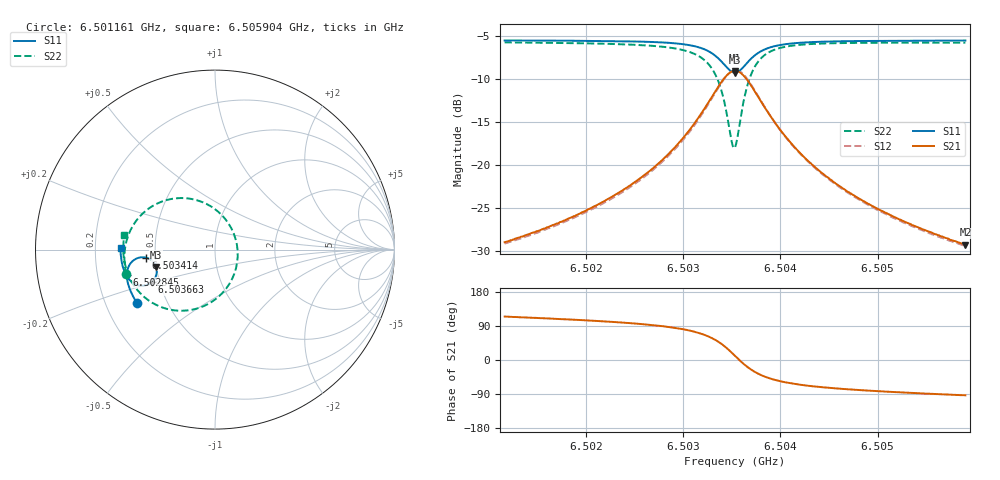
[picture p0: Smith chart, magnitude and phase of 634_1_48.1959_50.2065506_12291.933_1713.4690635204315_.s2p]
#  HZ  S  RI  R  50.00
! Rohde & Schwarz Vector Network Analyzer
! Rohde-Schwarz,ZNB20-2Port,1311601062101988,3.16
! Created: UTC 3/20/2024, 12:04:32 PM
! freq[Hz]  re:S11  im:S11  re:S21  im:S21  re:S12  im:S12  re:S22  im:S22
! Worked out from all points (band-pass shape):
!   401 points, 6.501161 GHz to 6.505904 GHz, reference 50 ohm
!   highest |S21| = -9.09 dB at 6.503532 GHz (marker M1); lowest = -29.3 dB at 6.505904 GHz (marker M2)
!   |S21| within 3 dB of the highest: 6.503295 GHz to 6.50377 GHz (474.8 kHz wide, 0.0073 % of centre)
!   lowest |S11| = -9.3 dB at 6.503532 GHz (marker M3), VSWR 2.04, Z = 24.9 - j5.59 ohm
!   |S11| at or under -10 dB: nowhere
!   |S22| runs from -18.1 to -5.8 dB; largest |S21 - S12| = 0.013
!   S11 on the Smith chart (normalised r, x): 6.501161 GHz: 0.34, -0.27; 6.502845 GHz: 0.33, -0.12; 6.503414 GHz: 0.44, -0.05; 6.503663 GHz: 0.46, -0.19; 6.505904 GHz: 0.31, +0.01
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6.5011608e9  -0.4363 -0.2952  -0.0148 0.0323  -0.0129 0.0324  -0.4949 -0.1367
6.5019553e9  -0.469 -0.2347  -0.0139 0.0511  -0.0113 0.0505  -0.5048 -0.0487
6.5023822e9  -0.4833 -0.1955  -0.0106 0.0707  -0.00751 0.0696  -0.5 0.0151
6.5027498e9  -0.4909 -0.1528  -0.000465 0.1024  0.00323 0.1  -0.4776 0.0933
6.5028447e9  -0.4911 -0.1395  0.00532 0.1149  0.00915 0.1119  -0.4647 0.1201
6.5030463e9  -0.4853 -0.105  0.0302 0.1514  0.034 0.1467  -0.4132 0.1907
6.5031886e9  -0.4689 -0.0745  0.0716 0.1864  0.0745 0.1803  -0.3333 0.2508
6.503319e9  -0.4316 -0.0474  0.1513 0.2126  0.1522 0.2061  -0.1884 0.2872
6.5034139e9  -0.3833 -0.0452  0.2458 0.1952  0.2463 0.1902  -0.0247 0.242
6.5034969e9  -0.3391 -0.0759  0.3265 0.1175  0.3296 0.1133  0.1046 0.0892
6.5035325e9  -0.3277 -0.099  0.3446 0.0672  0.3489 0.0612  0.1259 -0.00583
6.5035562e9  -0.3246 -0.116  0.348 0.0313  0.3527 0.024  0.1233 -0.0718
6.5035918e9  -0.3271 -0.1411  0.3403 -0.0209  0.3443 -0.0303  0.0948 -0.1642
6.5036629e9  -0.3502 -0.1798  0.2917 -0.0998  0.2918 -0.1121  -0.02 -0.2921
6.5037103e9  -0.3715 -0.194  0.25 -0.1293  0.2472 -0.1416  -0.1072 -0.3302
6.5037696e9  -0.3974 -0.2009  0.2012 -0.1463  0.1957 -0.157  -0.203 -0.3403
6.5039119e9  -0.4433 -0.1929  0.1191 -0.1431  0.1117 -0.1494  -0.3514 -0.2951
6.504078e9  -0.4731 -0.1717  0.0696 -0.1214  0.0628 -0.1243  -0.432 -0.2257
6.504327e9  -0.4959 -0.1402  0.0355 -0.0935  0.0305 -0.0944  -0.4808 -0.1461
6.5046946e9  -0.512 -0.1006  0.0153 -0.0679  0.0117 -0.0678  -0.5048 -0.0675
6.5051215e9  -0.5212 -0.06  0.00547 -0.0511  0.00295 -0.0504  -0.511 -0.00366
6.5059042e9  -0.5264 0.00718  -0.00188 -0.0343  -0.00321 -0.0336  -0.5045 0.0826
